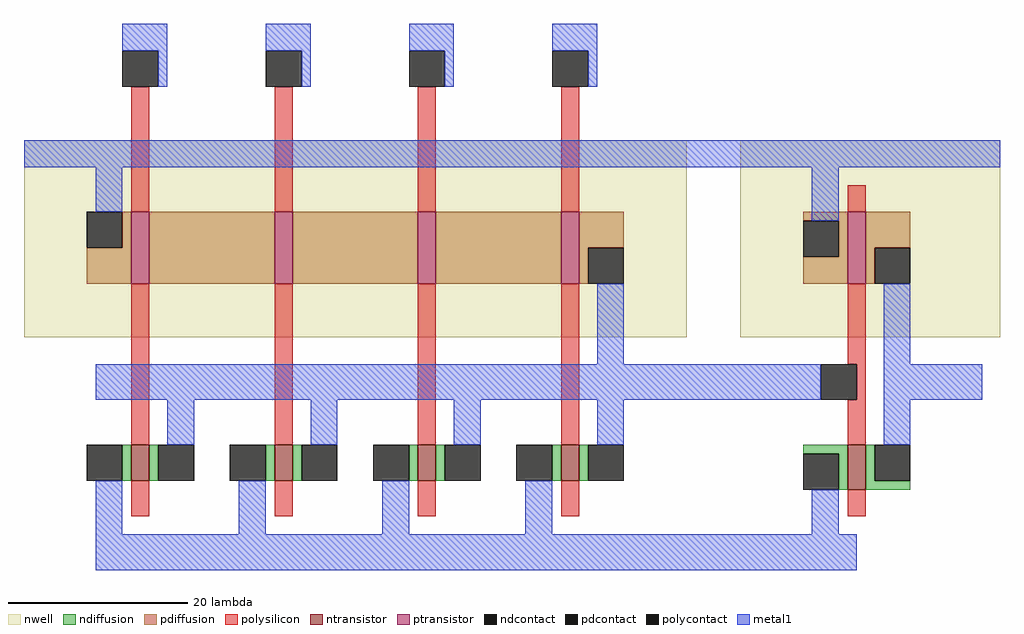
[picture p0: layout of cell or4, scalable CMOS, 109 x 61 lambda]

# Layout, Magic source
magic
tech scmos
<< nwell >>
rect -26 6 48 28
rect 54 6 83 28
<< ntransistor >>
rect -14 -10 -12 -6
rect 2 -10 4 -6
rect 18 -10 20 -6
rect 34 -10 36 -6
rect 66 -11 68 -6
<< ptransistor >>
rect -14 12 -12 20
rect 2 12 4 20
rect 18 12 20 20
rect 34 12 36 20
rect 66 12 68 20
<< ndiffusion >>
rect -15 -10 -14 -6
rect -12 -10 -11 -6
rect 1 -10 2 -6
rect 4 -10 5 -6
rect 17 -10 18 -6
rect 20 -10 21 -6
rect 33 -10 34 -6
rect 36 -10 37 -6
rect 61 -7 66 -6
rect 65 -11 66 -7
rect 68 -10 69 -6
rect 68 -11 73 -10
<< pdiffusion >>
rect -15 16 -14 20
rect -19 12 -14 16
rect -12 12 2 20
rect 4 12 18 20
rect 20 12 34 20
rect 36 16 41 20
rect 36 12 37 16
rect 61 19 66 20
rect 65 15 66 19
rect 61 12 66 15
rect 68 16 73 20
rect 68 12 69 16
<< ndcontact >>
rect -19 -10 -15 -6
rect -11 -10 -7 -6
rect -3 -10 1 -6
rect 5 -10 9 -6
rect 13 -10 17 -6
rect 21 -10 25 -6
rect 29 -10 33 -6
rect 37 -10 41 -6
rect 61 -11 65 -7
rect 69 -10 73 -6
<< pdcontact >>
rect -19 16 -15 20
rect 37 12 41 16
rect 61 15 65 19
rect 69 12 73 16
<< polysilicon >>
rect -14 20 -12 34
rect 2 20 4 34
rect 18 20 20 34
rect 34 20 36 34
rect 66 20 68 23
rect -14 -6 -12 12
rect 2 -6 4 12
rect 18 -6 20 12
rect 34 -6 36 12
rect 66 3 68 12
rect 67 -1 68 3
rect 66 -6 68 -1
rect -14 -14 -12 -10
rect 2 -14 4 -10
rect 18 -14 20 -10
rect 34 -14 36 -10
rect 66 -14 68 -11
<< polycontact >>
rect -15 34 -11 38
rect 1 34 5 38
rect 17 34 21 38
rect 33 34 37 38
rect 63 -1 67 3
<< metal1 >>
rect -15 38 -10 41
rect -11 34 -10 38
rect 1 38 6 41
rect 5 34 6 38
rect 17 38 22 41
rect 21 34 22 38
rect 33 38 38 41
rect 37 34 38 38
rect -26 25 83 28
rect -18 20 -15 25
rect 62 19 65 25
rect 38 3 41 12
rect 70 3 73 12
rect -18 -1 63 3
rect 70 -1 81 3
rect -10 -6 -7 -1
rect 6 -6 9 -1
rect 22 -6 25 -1
rect 38 -6 41 -1
rect 70 -6 73 -1
rect -18 -16 -15 -10
rect -2 -16 1 -10
rect 14 -16 17 -10
rect 30 -16 33 -10
rect 62 -16 65 -11
rect -18 -20 67 -16
<< end >>
